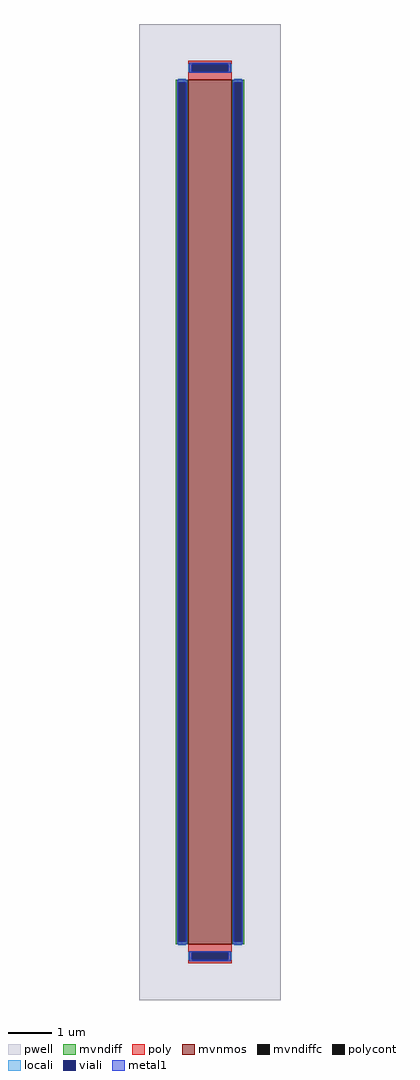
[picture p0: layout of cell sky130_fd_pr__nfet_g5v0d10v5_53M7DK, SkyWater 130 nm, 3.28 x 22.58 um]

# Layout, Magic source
magic
tech sky130A
magscale 1 2
<< pwell >>
rect -328 2235 328 2258
rect -328 2147 -307 2235
rect -306 2147 328 2235
rect -328 -2258 328 2147
<< mvnmos >>
rect -100 -2000 100 2000
<< mvndiff >>
rect -158 1988 -100 2000
rect -158 -1988 -146 1988
rect -112 -1988 -100 1988
rect -158 -2000 -100 -1988
rect 100 1988 158 2000
rect 100 -1988 112 1988
rect 146 -1988 158 1988
rect 100 -2000 158 -1988
<< mvndiffc >>
rect -146 -1988 -112 1988
rect 112 -1988 146 1988
<< poly >>
rect -100 2072 100 2088
rect -100 2038 -84 2072
rect 84 2038 100 2072
rect -100 2000 100 2038
rect -100 -2038 100 -2000
rect -100 -2072 -84 -2038
rect 84 -2072 100 -2038
rect -100 -2088 100 -2072
<< polycont >>
rect -84 2038 84 2072
rect -84 -2072 84 -2038
<< locali >>
rect -100 2038 -84 2072
rect 84 2038 100 2072
rect -146 1988 -112 2004
rect -146 -2004 -112 -1988
rect 112 1988 146 2004
rect 112 -2004 146 -1988
rect -100 -2072 -84 -2038
rect 84 -2072 100 -2038
<< viali >>
rect -84 2038 84 2072
rect -146 -1988 -112 1988
rect 112 -1988 146 1988
rect -84 -2072 84 -2038
<< metal1 >>
rect -96 2072 96 2078
rect -96 2038 -84 2072
rect 84 2038 96 2072
rect -96 2032 96 2038
rect -152 1988 -106 2000
rect -152 -1988 -146 1988
rect -112 -1988 -106 1988
rect -152 -2000 -106 -1988
rect 106 1988 152 2000
rect 106 -1988 112 1988
rect 146 -1988 152 1988
rect 106 -2000 152 -1988
rect -96 -2038 96 -2032
rect -96 -2072 -84 -2038
rect 84 -2072 96 -2038
rect -96 -2078 96 -2072
<< properties >>
string FIXED_BBOX -262 -2192 262 2192
string gencell sky130_fd_pr__nfet_g5v0d10v5
string library sky130
string parameters w 20.0 l 1.0 m 1 nf 1 diffcov 100 polycov 100 guard 1 glc 1 grc 1 gtc 1 gbc 1 tbcov 100 rlcov 100 topc 1 botc 1 poverlap 0 doverlap 1 lmin 0.50 wmin 0.42 class mosfet compatible {sky130_fd_pr__nfet_01v8 sky130_fd_pr__nfet_01v8_lvt  sky130_fd_bs_flash__special_sonosfet_star  sky130_fd_pr__nfet_g5v0d10v5 sky130_fd_pr__nfet_05v0_nvt  sky130_fd_pr__nfet_03v3_nvt} full_metal 1 viasrc 100 viadrn 100 viagate 100 viagb 0 viagr 0 viagl 0 viagt 0
string sky130_fd_pr__nfet_g5v0d10v5_53M7DK parameters
<< end >>
